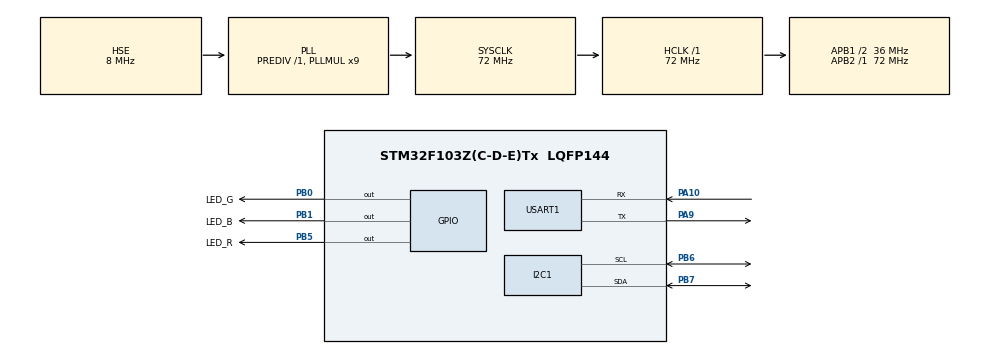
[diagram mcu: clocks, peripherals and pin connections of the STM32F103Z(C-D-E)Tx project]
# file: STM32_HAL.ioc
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I2C1.I2C_Mode=I2C_Fast
Mcu.Family=STM32F1
Mcu.Name=STM32F103Z(C-D-E)Tx
Mcu.Package=LQFP144
NVIC.PriorityGroup=NVIC_PRIORITYGROUP_4
NVIC.USART1_IRQn=true\:0\:0\:false\:false\:true\:true\:true\:true
OSC_IN.Mode=HSE-External-Oscillator
OSC_IN.Signal=RCC_OSC_IN
OSC_OUT.Mode=HSE-External-Oscillator
OSC_OUT.Signal=RCC_OSC_OUT
PA10.Mode=Asynchronous
PA10.Signal=USART1_RX
PA13.Mode=JTAG_5_pins
PA13.Signal=SYS_JTMS-SWDIO
PA14.Mode=JTAG_5_pins
PA14.Signal=SYS_JTCK-SWCLK
PA15.Mode=JTAG_5_pins
PA15.Signal=SYS_JTDI
PA9.Mode=Asynchronous
PA9.Signal=USART1_TX
PB0.GPIO_Label=LED_G
PB0.GPIO_Speed=GPIO_SPEED_FREQ_HIGH
PB0.PinState=GPIO_PIN_SET
PB0.Signal=GPIO_Output
PB1.GPIO_Label=LED_B
PB1.GPIO_Speed=GPIO_SPEED_FREQ_HIGH
PB1.PinState=GPIO_PIN_SET
PB1.Signal=GPIO_Output
PB3.Mode=JTAG_5_pins
PB3.Signal=SYS_JTDO-TRACESWO
PB4.Mode=JTAG_5_pins
PB4.Signal=SYS_NJTRST
PB5.GPIO_Label=LED_R
PB5.GPIO_Speed=GPIO_SPEED_FREQ_HIGH
PB5.PinState=GPIO_PIN_SET
PB5.Signal=GPIO_Output
PB6.Mode=I2C
PB6.Signal=I2C1_SCL
PB7.Mode=I2C
PB7.Signal=I2C1_SDA
PC14-OSC32_IN.Mode=LSE-External-Oscillator
PC14-OSC32_IN.Signal=RCC_OSC32_IN
PC15-OSC32_OUT.Mode=LSE-External-Oscillator
PC15-OSC32_OUT.Signal=RCC_OSC32_OUT
ProjectManager.HeapSize=0x200
ProjectManager.StackSize=0x400
ProjectManager.TargetToolchain=CMake
RCC.AHBFreq_Value=72000000
RCC.APB1CLKDivider=RCC_HCLK_DIV2
RCC.APB1Freq_Value=36000000
RCC.APB1TimFreq_Value=72000000
RCC.APB2Freq_Value=72000000
RCC.APB2TimFreq_Value=72000000
RCC.HCLKFreq_Value=72000000
RCC.PLLMUL=RCC_PLL_MUL9
RCC.PLLSourceVirtual=RCC_PLLSOURCE_HSE
RCC.SYSCLKFreq_VALUE=72000000
RCC.SYSCLKSource=RCC_SYSCLKSOURCE_PLLCLK
RCC.USBFreq_Value=72000000
USART1.VirtualMode=VM_ASYNC
board=custom

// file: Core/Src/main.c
/* USER CODE BEGIN Header */
/**
  ******************************************************************************
  * @file           : main.c
  * @brief          : Main program body
  ******************************************************************************
  * @attention
  *
  * Copyright (c) 2024 STMicroelectronics.
  * All rights reserved.
  *
  * This software is licensed under terms that can be found in the LICENSE file
  * in the root directory of this software component.
  * If no LICENSE file comes with this software, it is provided AS-IS.
  *
  ******************************************************************************
  */
/* USER CODE END Header */
#include "main.h"
#include "i2c.h"
#include "usart.h"
#include "gpio.h"

/* USER CODE BEGIN Includes */

#include <stdio.h>
#include "oled.h"

/* USER CODE END Includes */

/* USER CODE BEGIN PM */

// R: PB5, G: PB0, B: PB1
#define LED_R 0xFFFFFFDF
#define LED_G 0xFFFFFFFE
#define LED_B 0xFFFFFFFD

/* USER CODE END PM */

/* USER CODE BEGIN PV */
extern UART_HandleTypeDef huart1;
uint32_t ledColorArray[] = {LED_R, LED_G, LED_B};

/* USER CODE END PV */

void SystemClock_Config(void);

int main(void)
{

  /* MCU Configuration--------------------------------------------------------*/

  /* Reset of all peripherals, Initializes the Flash interface and the Systick. */
  HAL_Init();

  /* Configure the system clock */
  SystemClock_Config();

  /* Initialize all configured peripherals */
  MX_GPIO_Init();
  MX_I2C1_Init();
  MX_USART1_UART_Init();
  /* USER CODE BEGIN 2 */

  // 0x78: OLED i2c address
  OLED_ConfigDisplay(&hi2c1, 0x78);

  if (OLED_InitDisplay() < 0) {
    printf("init OLED screen failed!\r\n");
  } else {
    printf("OLED ok!\r\n");
  }
  /* USER CODE END 2 */

  /* Infinite loop */
  /* USER CODE BEGIN WHILE */
  __HAL_RCC_GPIOB_CLK_ENABLE();
  OLED_Test();

  while (1)
  {
    /* USER CODE END WHILE */

    /* USER CODE BEGIN 3 */
    GPIOB->ODR = LED_R;
    HAL_Delay(500);
    GPIOB->ODR = LED_G;
    HAL_Delay(500);
    GPIOB->ODR = LED_B;
    HAL_Delay(500);
  }
  /* USER CODE END 3 */
}

void SystemClock_Config(void)
{
  RCC_OscInitTypeDef RCC_OscInitStruct = {0};
  RCC_ClkInitTypeDef RCC_ClkInitStruct = {0};

  /** Initializes the RCC Oscillators according to the specified parameters
  * in the RCC_OscInitTypeDef structure.
  */
  RCC_OscInitStruct.OscillatorType = RCC_OSCILLATORTYPE_HSE;
  RCC_OscInitStruct.HSEState = RCC_HSE_ON;
  RCC_OscInitStruct.HSEPredivValue = RCC_HSE_PREDIV_DIV1;
  RCC_OscInitStruct.HSIState = RCC_HSI_ON;
  RCC_OscInitStruct.PLL.PLLState = RCC_PLL_ON;
  RCC_OscInitStruct.PLL.PLLSource = RCC_PLLSOURCE_HSE;
  RCC_OscInitStruct.PLL.PLLMUL = RCC_PLL_MUL9;
  if (HAL_RCC_OscConfig(&RCC_OscInitStruct) != HAL_OK)
  {
    Error_Handler();
  }

  /** Initializes the CPU, AHB and APB buses clocks
  */
  RCC_ClkInitStruct.ClockType = RCC_CLOCKTYPE_HCLK|RCC_CLOCKTYPE_SYSCLK
                              |RCC_CLOCKTYPE_PCLK1|RCC_CLOCKTYPE_PCLK2;
  RCC_ClkInitStruct.SYSCLKSource = RCC_SYSCLKSOURCE_PLLCLK;
  RCC_ClkInitStruct.AHBCLKDivider = RCC_SYSCLK_DIV1;
  RCC_ClkInitStruct.APB1CLKDivider = RCC_HCLK_DIV2;
  RCC_ClkInitStruct.APB2CLKDivider = RCC_HCLK_DIV1;

  if (HAL_RCC_ClockConfig(&RCC_ClkInitStruct, FLASH_LATENCY_2) != HAL_OK)
  {
    Error_Handler();
  }
}

/* USER CODE BEGIN 4 */
int __io_putchar(int ch)
{
    HAL_UART_Transmit(&huart1, (uint8_t *)&ch, 1, HAL_MAX_DELAY);
    return 0;
}
/* USER CODE END 4 */

void Error_Handler(void)
{
  __disable_irq();
  while (1)
  {
  }
}
